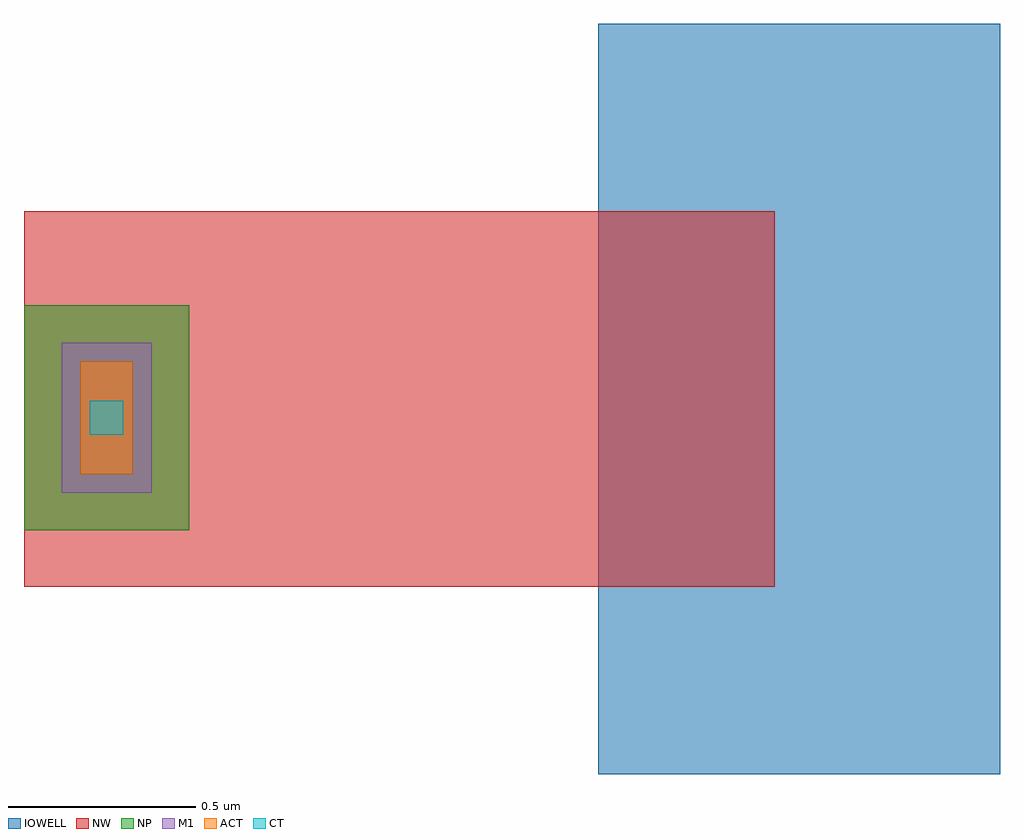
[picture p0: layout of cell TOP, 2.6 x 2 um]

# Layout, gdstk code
import gdstk
lib = gdstk.Library(unit=1e-6, precision=1e-09)
def R(c, l, rs):  # rectangles x0, y0, x1, y1
    for r in rs: c.add(gdstk.rectangle(r[:2], r[2:], *l))
ACT = (2, 1)
NW = (9, 1)
IOWELL = (28, 1)
NP = (52, 1)
CT = (72, 1)
M1 = (81, 1)

top = lib.new_cell('TOP')
R(top, ACT, [(0.15,0.3,0.29,0.6)])
R(top, NW, [(0,0,2,1)])
R(top, IOWELL, [(1.53,-0.5,2.6,1.5)])
R(top, NP, [(0,0.15,0.44,0.75)])
R(top, CT, [(0.175,0.405,0.265,0.495)])
R(top, M1, [(0.1,0.25,0.34,0.65)])

lib.write_gds('TOP.gds')
